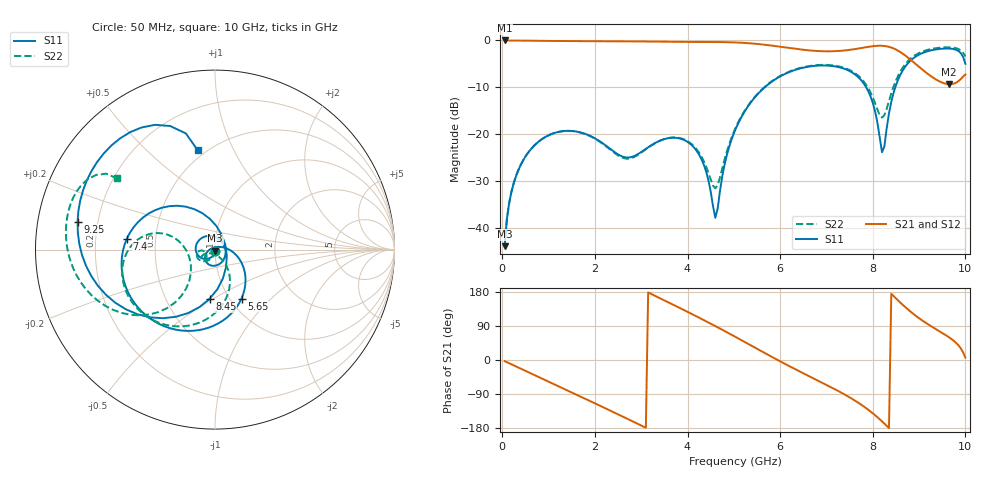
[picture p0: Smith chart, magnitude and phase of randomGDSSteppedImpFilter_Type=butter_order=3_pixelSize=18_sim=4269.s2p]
! freq	dB(S11)	phase(S11)	dB(S12)	phase(S12)
!  dB(S21)	phase(S21)	dB(S22)	phase(S22)
!S-par simulation data
#  GHz  S  DB  R 50
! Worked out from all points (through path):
!   200 points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, 50 MHz to 10 GHz, reference 50 ohm
!   highest |S21| = -0.01 dB at 50 MHz (marker M1); lowest = -9.4 dB at 9.65 GHz (marker M2)
!   group delay of S21, straight-line fit = 188 ps
!   lowest |S11| = -44.0 dB at 50 MHz (marker M3), VSWR 1.01, Z = 50.1 - j0.63 ohm
!   |S11| at or under -10 dB: start of sweep to 5.67 GHz; 7.856 GHz to 8.487 GHz (631.8 MHz wide, 7.73 % of centre)
!   |S22| runs from -44.0 to -1.5 dB; largest |S21 - S12| = 0
!   S11 on the Smith chart (normalised r, x): 50 MHz: 1.00, -0.01; 5.65 GHz: 1.13, -0.68; 7.4 GHz: 0.34, +0.06; 8.45 GHz: 0.81, -0.48; 9.25 GHz: 0.12, +0.10; 10 GHz: 0.45, +0.73
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0.05  -43.99 -84.6  -0.01 -2.9  -0.01 -2.9  -43.96 -83.9
0.2  -32.27 -101.7  -0.03 -11.5  -0.03 -11.5  -32.24 -98.5
0.55  -24.11 -126.6  -0.06 -31.5  -0.06 -31.5  -24.09 -117.3
1.15  -19.72 -167.6  -0.13 -65.7  -0.13 -65.7  -19.72 -145.5
1.75  -19.84 147.0  -0.16 -99.9  -0.16 -99.9  -19.88 -168.7
2.65  -24.99 34.8  -0.20 -152.2  -0.20 -152.2  -25.23 -159.6
3.4  -21.46 -74.2  -0.28 163.3  -0.28 163.3  -21.46 -137.2
4.2  -23.65 -146.1  -0.33 114.8  -0.33 114.8  -23.32 -156.6
4.6  -37.93 109.7  -0.34 89.5  -0.34 89.5  -31.64 -108.3
4.8  -26.53 15.3  -0.37 76.5  -0.37 76.5  -25.44 -58.4
5.05  -18.69 -12.8  -0.44 60.0  -0.44 60.0  -18.42 -55.7
5.65  -10.17 -61.6  -0.91 19.6  -0.91 19.6  -10.07 -83.1
6.7  -5.49 -136.7  -2.20 -47.3  -2.20 -47.3  -5.37 -139.4
7.4  -6.12 172.8  -2.15 -91.5  -2.15 -91.5  -5.93 -174.9
7.9  -10.81 124.0  -1.38 -131.0  -1.38 -131.0  -10.18 163.0
8.2  -23.92 26.3  -1.15 -162.0  -1.15 -162.0  -16.51 -163.5
8.35  -15.60 -74.5  -1.38 -179.5  -1.38 -179.5  -12.95 -129.5
8.45  -11.17 -96.4  -1.72 168.5  -1.72 168.5  -9.86 -126.0
8.75  -5.00 -140.1  -3.60 134.4  -3.60 134.4  -4.52 -142.3
9.25  -2.15 168.6  -7.61 89.9  -7.61 89.9  -1.86 -175.3
9.65  -1.74 134.9  -9.37 59.6  -9.37 59.6  -1.47 162.7
10  -5.00 99.9  -7.28 6.4  -7.28 6.4  -3.42 144.0
